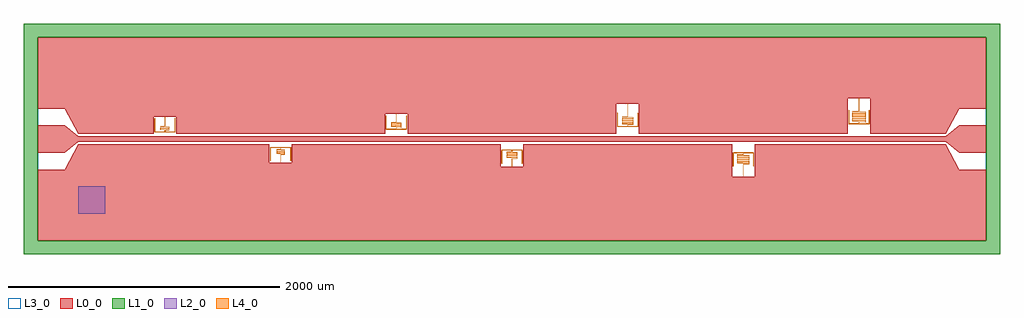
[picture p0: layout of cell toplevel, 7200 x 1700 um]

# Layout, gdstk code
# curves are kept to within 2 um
import gdstk
lib = gdstk.Library(unit=1e-6, precision=1e-09)
def R(c, l, rs):  # rectangles x0, y0, x1, y1
    for r in rs: c.add(gdstk.rectangle(r[:2], r[2:], *l))
def P(c, l, *ps):  # polygons
    for p in ps: c.add(gdstk.Polygon(p, *l))
L0_0 = (0, 0)
L1_0 = (1, 0)
L2_0 = (2, 0)
L3_0 = (3, 0)
L4_0 = (4, 0)

toplevel = lib.new_cell('toplevel')
P(toplevel, L0_0, [(-2477.5,164.5),(-2477.5,39.5),(-935.833,39.5),(-935.833,184.5),(-770.833,184.5),(-770.833,39.5),(770.833,39.5),(770.833,259.5),(935.833,259.5),(935.833,39.5),(2477.5,39.5),(2477.5,299.5),(2642.5,299.5),(2642.5,39.5),(3200,39.5),(3300,225),(3500,225),(3500,750),(-3500,750),(-3500,225),(-3300,225),(-3200,39.5),(-2642.5,39.5),(-2642.5,164.5)],
  [(3500,-750),(3500,-225),(3300,-225),(3200,-39.5),(1789.167,-39.5),(1789.167,-279.5),(1624.167,-279.5),(1624.167,-39.5),(82.5,-39.5),(82.5,-204.5),(-82.5,-204.5),(-82.5,-39.5),(-1624.167,-39.5),(-1624.167,-174.5),(-1789.167,-174.5),(-1789.167,-39.5),(-3200,-39.5),(-3300,-225),(-3500,-225),(-3500,-750)],
  [(-3200,19.5),(-3300,100),(-3500,100),(-3500,-100),(-3300,-100),(-3200,-19.5),(3200,-19.5),(3300,-100),(3500,-100),(3500,100),(3300,100),(3200,19.5)])
P(toplevel, L1_0, [(3600,850),(-3600,850),(-3600,-750),(-3500,-750),(-3500,750),(3500,750),(3500,-750),(-3500,-750),(-3600,-750),(-3600,-850),(3600,-850)])
R(toplevel, L2_0, [(-3200,-550,-3000,-350)])
R(toplevel, L3_0, [(-3500,-750,3500,750)])
P(toplevel, L4_0, [(-2559.691,63.68),(-2559.239,64.184),(-2527.447,64.274),(-2526.875,64.718),(-2526.7,65.558),(-2526.73,68.87),(-2527.427,69.719),(-2592,69.801),(-2592.568,69.966),(-2592.7,70.622),(-2592.682,73.751),(-2592.132,74.195),(-2528.008,74.2),(-2527.218,74.375),(-2526.785,74.914),(-2526.738,78.916),(-2527.088,79.534),(-2527.798,79.791),(-2591.95,79.8),(-2592.645,80.102),(-2592.687,83.714),(-2592.141,84.194),(-2528.008,84.2),(-2526.8,84.875),(-2526.737,88.909),(-2527.088,89.534),(-2527.798,89.791),(-2591.95,89.8),(-2592.637,90.082),(-2592.691,93.68),(-2592.239,94.184),(-2560.969,94.201),(-2559.819,94.828),(-2559.7,164.5),(-2560.3,164.5),(-2560.368,95.07),(-2561.025,94.8),(-2592.345,94.774),(-2593.271,93.864),(-2593.19,89.848),(-2591.986,89.2),(-2527.859,89.194),(-2527.313,88.71),(-2527.359,85.092),(-2528.05,84.8),(-2592.202,84.791),(-2592.912,84.534),(-2593.262,83.916),(-2593.208,79.894),(-2591.992,79.2),(-2527.859,79.194),(-2527.313,78.714),(-2527.352,75.112),(-2528.05,74.8),(-2592.177,74.793),(-2593.241,74),(-2593.241,70),(-2592.042,69.201),(-2527.618,69.151),(-2527.308,68.663),(-2527.302,65.433),(-2527.769,64.815),(-2559.527,64.734),(-2560.277,63.826),(-2560.3,59.5),(-2570,54.5),(-2630.62,54.5),(-2632.27,54.779),(-2632.502,149.609),(-2632.952,150.934),(-2634.043,151.81),(-2635.326,151.979),(-2636.607,151.415),(-2637.5,149.5),(-2637.475,55.454),(-2636.915,52.9),(-2635.563,51.007),(-2633.448,49.846),(-2630.644,49.5),(-2489.356,49.5),(-2486.888,49.753),(-2484.934,50.618),(-2483.1,52.865),(-2482.503,56.063),(-2482.5,149.5),(-2483.085,151.107),(-2484.353,151.915),(-2485.752,151.884),(-2486.983,151.022),(-2487.498,149.609),(-2487.5,56.38),(-2487.751,54.751),(-2550,54.5),(-2559.7,59.5)],
  [(-1707.098,-74.034),(-1736.252,-74.285),(-1736.78,-74.699),(-1736.965,-75.452),(-1736.946,-78.813),(-1736.377,-79.663),(-1677.521,-79.806),(-1676.974,-80.342),(-1676.97,-83.604),(-1677.165,-84.093),(-1677.742,-84.2),(-1735.893,-84.211),(-1736.626,-84.507),(-1736.948,-85.206),(-1736.957,-88.714),(-1736.579,-89.534),(-1735.62,-89.8),(-1677.517,-89.807),(-1676.975,-90.328),(-1676.969,-93.581),(-1677.131,-94.066),(-1677.737,-94.2),(-1735.726,-94.202),(-1736.285,-94.297),(-1736.91,-95.006),(-1736.91,-98.994),(-1736.549,-99.558),(-1735.856,-99.792),(-1677.716,-99.8),(-1677.024,-100.095),(-1676.979,-103.71),(-1677.513,-104.193),(-1735.658,-104.2),(-1736.862,-104.861),(-1736.931,-108.903),(-1736.585,-109.529),(-1735.887,-109.789),(-1677.716,-109.8),(-1677.033,-110.073),(-1676.976,-113.676),(-1677.415,-114.182),(-1705.703,-114.201),(-1706.839,-114.809),(-1706.967,-174.5),(-1706.367,-174.5),(-1706.295,-115.061),(-1705.647,-114.8),(-1677.296,-114.77),(-1676.394,-113.858),(-1676.482,-109.835),(-1677.675,-109.2),(-1735.821,-109.193),(-1736.355,-108.706),(-1736.305,-105.086),(-1735.617,-104.8),(-1677.453,-104.79),(-1676.748,-104.529),(-1676.404,-103.909),(-1676.464,-99.881),(-1676.897,-99.368),(-1677.669,-99.2),(-1735.807,-99.194),(-1736.348,-98.751),(-1736.238,-94.97),(-1677.714,-94.8),(-1676.736,-94.519),(-1676.376,-93.702),(-1676.386,-90.199),(-1676.713,-89.502),(-1677.44,-89.211),(-1735.596,-89.2),(-1736.198,-89.07),(-1736.364,-88.586),(-1736.358,-85.328),(-1735.812,-84.806),(-1677.724,-84.8),(-1676.527,-84.256),(-1676.381,-80.237),(-1676.702,-79.513),(-1677.44,-79.211),(-1736.123,-79.119),(-1736.363,-75.4),(-1735.91,-74.817),(-1707.107,-74.724),(-1706.388,-73.82),(-1706.367,-69.5),(-1696.667,-64.5),(-1636.047,-64.5),(-1634.398,-64.777),(-1634.164,-159.609),(-1633.715,-160.934),(-1632.623,-161.81),(-1631.233,-161.962),(-1629.978,-161.343),(-1629.167,-159.5),(-1629.19,-65.481),(-1629.737,-62.935),(-1631.104,-61.007),(-1633.219,-59.846),(-1636.023,-59.5),(-1777.311,-59.5),(-1779.779,-59.753),(-1781.732,-60.618),(-1783.551,-62.831),(-1784.164,-66.088),(-1784.167,-159.5),(-1783.51,-161.189),(-1782.208,-161.941),(-1780.812,-161.849),(-1779.683,-161.022),(-1779.169,-159.609),(-1779.167,-66.483),(-1778.919,-64.755),(-1777.287,-64.5),(-1716.667,-64.5),(-1706.967,-69.5)],
  [(-853.024,83.684),(-852.556,84.186),(-816.326,84.26),(-815.72,84.699),(-815.533,85.558),(-815.566,88.883),(-816.307,89.734),(-889.823,89.8),(-890.402,89.966),(-890.533,90.622),(-890.514,93.755),(-889.947,94.196),(-816.853,94.2),(-816.077,94.36),(-815.638,94.861),(-815.572,98.916),(-815.927,99.539),(-816.656,99.793),(-889.778,99.8),(-890.469,100.079),(-890.52,103.714),(-889.961,104.195),(-816.853,104.2),(-816.096,104.35),(-815.652,104.828),(-815.57,108.909),(-815.927,109.539),(-816.656,109.793),(-889.773,109.8),(-890.46,110.058),(-890.521,113.71),(-889.961,114.195),(-816.858,114.2),(-815.677,114.776),(-815.568,118.896),(-815.921,119.534),(-816.65,119.792),(-889.773,119.8),(-890.448,120.035),(-890.524,123.68),(-890.048,124.187),(-854.325,124.201),(-853.205,124.724),(-853.033,184.5),(-853.633,184.5),(-853.725,125.024),(-854.368,124.8),(-890.153,124.778),(-890.798,124.487),(-891.107,123.851),(-890.976,119.75),(-889.803,119.2),(-816.706,119.195),(-816.146,118.71),(-816.213,115.046),(-816.893,114.8),(-890.011,114.793),(-890.74,114.539),(-891.097,113.903),(-891.003,109.802),(-889.808,109.2),(-816.706,109.195),(-816.146,108.71),(-816.201,105.07),(-816.893,104.8),(-890.011,104.793),(-890.74,104.539),(-891.095,103.916),(-891.023,99.848),(-890.583,99.357),(-889.814,99.2),(-816.706,99.195),(-816.146,98.714),(-816.195,95.086),(-816.888,94.8),(-889.987,94.794),(-890.697,94.571),(-891.073,94.007),(-891.075,90),(-890.439,89.292),(-889.864,89.201),(-816.476,89.158),(-816.142,88.671),(-816.135,85.437),(-816.623,84.813),(-852.82,84.745),(-853.609,83.839),(-853.633,79.5),(-863.333,74.5),(-923.953,74.5),(-925.602,74.777),(-925.833,76.34),(-925.836,169.609),(-926.285,170.934),(-927.277,171.766),(-928.66,171.979),(-929.94,171.415),(-930.599,170.556),(-930.833,169.5),(-930.808,75.454),(-930.233,72.865),(-928.864,70.979),(-926.781,69.846),(-923.977,69.5),(-782.689,69.5),(-780.221,69.753),(-778.268,70.618),(-776.449,72.831),(-775.836,76.088),(-775.833,169.5),(-776.418,171.107),(-777.686,171.915),(-779.085,171.884),(-780.317,171.022),(-780.831,169.609),(-780.833,76.441),(-781.081,74.755),(-782.713,74.5),(-843.333,74.5),(-853.033,79.5)],
  [(-0.441,-94.044),(-37.007,-94.26),(-37.593,-94.667),(-37.799,-95.452),(-37.774,-98.845),(-37.132,-99.698),(36.618,-99.804),(37.048,-99.944),(37.194,-100.359),(37.194,-103.641),(36.927,-104.133),(-36.537,-104.201),(-37.106,-104.292),(-37.741,-105),(-37.74,-109.007),(-37.364,-109.571),(-36.654,-109.794),(36.445,-109.8),(37.142,-110.095),(37.187,-113.714),(36.627,-114.195),(-36.481,-114.2),(-37.256,-114.36),(-37.698,-114.868),(-37.761,-118.916),(-37.406,-119.539),(-36.678,-119.793),(36.445,-119.8),(37.136,-120.079),(37.187,-123.714),(36.627,-124.195),(-36.481,-124.2),(-37.237,-124.35),(-37.681,-124.828),(-37.763,-128.909),(-37.406,-129.539),(-36.678,-129.793),(36.44,-129.8),(37.126,-130.058),(37.187,-133.71),(36.627,-134.195),(-36.475,-134.2),(-37.211,-134.337),(-37.657,-134.776),(-37.765,-138.896),(-37.412,-139.534),(-36.684,-139.792),(36.44,-139.8),(37.115,-140.035),(37.191,-143.68),(36.714,-144.187),(0.991,-144.201),(-0.129,-144.724),(-0.3,-204.5),(0.3,-204.5),(0.391,-145.024),(1.035,-144.8),(36.82,-144.778),(37.465,-144.487),(37.773,-143.851),(37.643,-139.75),(37.198,-139.331),(36.47,-139.2),(-36.627,-139.195),(-37.187,-138.71),(-37.121,-135.046),(-36.44,-134.8),(36.678,-134.793),(37.406,-134.539),(37.764,-133.903),(37.669,-129.802),(37.224,-129.343),(36.475,-129.2),(-36.627,-129.195),(-37.187,-128.71),(-37.132,-125.07),(-36.44,-124.8),(36.678,-124.793),(37.406,-124.539),(37.761,-123.916),(37.69,-119.848),(37.25,-119.357),(36.481,-119.2),(-36.627,-119.195),(-37.187,-118.714),(-37.14,-115.089),(-36.445,-114.8),(36.678,-114.793),(37.4,-114.544),(37.76,-113.922),(37.703,-109.881),(37.263,-109.364),(36.481,-109.2),(-36.614,-109.196),(-37.181,-108.755),(-37.068,-104.966),(36.42,-104.8),(37.165,-104.684),(37.778,-103.82),(37.79,-100.286),(37.47,-99.518),(36.69,-99.208),(-36.918,-99.137),(-37.194,-98.645),(-37.197,-95.405),(-36.71,-94.813),(-0.513,-94.745),(0.019,-94.43),(0.275,-93.839),(0.3,-89.5),(10,-84.5),(70.62,-84.5),(72.243,-84.746),(72.5,-86.4),(72.502,-179.609),(72.952,-180.934),(74.043,-181.81),(75.434,-181.962),(76.689,-181.343),(77.31,-180.457),(77.5,-179.5),(77.475,-85.454),(76.9,-82.865),(75.563,-81.007),(73.448,-79.846),(70.644,-79.5),(-70.644,-79.5),(-73.112,-79.753),(-75.066,-80.618),(-76.131,-81.6),(-76.9,-82.865),(-77.496,-86.013),(-77.5,-179.5),(-76.843,-181.189),(-75.541,-181.941),(-74.145,-181.849),(-72.952,-180.934),(-72.502,-179.609),(-72.5,-86.4),(-72.254,-84.757),(-70.62,-84.5),(-10,-84.5),(-0.3,-89.5)],
  [(853.643,103.689),(854.128,104.188),(893.814,104.253),(894.426,104.667),(894.632,105.48),(894.604,108.864),(893.906,109.719),(813.243,109.803),(812.654,110.237),(812.761,114.03),(813.314,114.199),(893.319,114.2),(894.141,114.39),(894.571,114.987),(894.589,118.941),(894.228,119.548),(893.499,119.794),(813.388,119.8),(812.673,120.15),(812.804,124.072),(893.319,124.2),(894.135,124.387),(894.567,124.973),(894.591,128.935),(894.228,129.548),(893.499,129.794),(813.388,129.8),(812.677,130.136),(812.804,134.072),(893.314,134.2),(894.122,134.379),(894.559,134.947),(894.591,138.935),(894.228,139.548),(893.499,139.794),(813.388,139.8),(812.681,140.122),(812.804,144.072),(893.314,144.2),(894.115,144.375),(894.55,144.921),(894.592,148.928),(894.228,149.548),(893.499,149.794),(813.388,149.8),(812.686,150.108),(812.801,154.07),(893.314,154.2),(894.096,154.364),(894.539,154.888),(894.593,158.922),(894.234,159.544),(893.499,159.794),(813.393,159.8),(812.692,160.092),(812.644,163.693),(813.128,164.188),(852.353,164.201),(853.096,164.364),(853.526,164.855),(853.633,259.5),(853.033,259.5),(852.971,165.082),(852.304,164.8),(813.039,164.781),(812.386,164.503),(812.066,163.883),(812.133,159.875),(812.577,159.36),(813.358,159.2),(893.451,159.196),(893.865,159.07),(894.02,158.718),(893.977,155.098),(893.273,154.8),(813.168,154.794),(812.439,154.548),(812.074,153.928),(812.121,149.907),(812.558,149.371),(813.353,149.2),(893.451,149.196),(893.863,149.072),(894.019,148.723),(893.983,145.115),(893.278,144.8),(813.168,144.794),(812.439,144.548),(812.074,143.928),(812.112,139.934),(812.545,139.379),(813.353,139.2),(893.451,139.196),(893.863,139.072),(894.019,138.723),(893.987,135.129),(893.278,134.8),(813.168,134.794),(812.439,134.548),(812.076,133.935),(812.103,129.96),(812.532,129.387),(813.347,129.2),(893.451,129.196),(893.863,129.072),(894.019,128.727),(893.992,125.143),(893.278,124.8),(813.168,124.794),(812.439,124.548),(812.077,123.941),(812.096,119.987),(812.526,119.39),(813.347,119.2),(893.451,119.195),(893.863,119.072),(894.019,118.727),(893.994,115.15),(893.278,114.8),(813.291,114.799),(812.721,114.705),(812.092,114),(812.094,109.993),(812.476,109.424),(813.198,109.205),(893.715,109.151),(894.026,108.663),(893.905,104.97),(853.879,104.753),(853.325,104.442),(853.06,103.851),(853.033,99.5),(843.333,94.5),(782.713,94.5),(781.09,94.746),(780.833,96.441),(780.831,189.609),(780.599,190.556),(780.022,191.343),(779.188,191.849),(778.224,191.998),(777.277,191.766),(776.49,191.189),(775.984,190.355),(775.833,189.5),(775.833,96.426),(776.179,93.552),(777.369,91.405),(779.268,90.07),(782.006,89.514),(923.977,89.5),(926.346,89.729),(928.229,90.505),(929.326,91.437),(930.17,92.727),(930.634,94.118),(930.827,95.91),(930.833,189.5),(930.643,190.457),(930.022,191.343),(929.085,191.884),(928.115,191.99),(927.277,191.766),(926.49,191.189),(925.984,190.355),(925.833,189.5),(925.833,96.34),(925.589,94.759),(923.953,94.5),(863.333,94.5),(853.633,99.5)],
  [(1706.218,-114.052),(1662.219,-114.246),(1661.565,-114.68),(1661.367,-115.558),(1661.403,-118.903),(1661.669,-119.453),(1662.199,-119.75),(1750.647,-119.8),(1751.233,-119.964),(1751.367,-120.622),(1751.346,-123.763),(1751.181,-124.084),(1750.762,-124.197),(1662.686,-124.2),(1661.859,-124.39),(1661.429,-124.987),(1661.411,-128.941),(1661.778,-129.553),(1662.519,-129.795),(1750.612,-129.8),(1751.115,-129.876),(1751.326,-130.146),(1751.352,-133.727),(1751.194,-134.074),(1750.776,-134.196),(1662.686,-134.2),(1661.865,-134.387),(1661.435,-134.967),(1661.411,-138.941),(1661.778,-139.553),(1662.519,-139.795),(1750.607,-139.8),(1751.322,-140.132),(1751.352,-143.727),(1751.194,-144.074),(1750.776,-144.196),(1662.692,-144.2),(1661.878,-144.379),(1661.443,-144.94),(1661.409,-148.935),(1661.778,-149.553),(1662.519,-149.795),(1750.607,-149.8),(1751.317,-150.118),(1751.352,-153.723),(1751.194,-154.074),(1750.776,-154.196),(1662.692,-154.2),(1661.891,-154.371),(1661.452,-154.914),(1661.408,-158.928),(1661.772,-159.548),(1662.513,-159.794),(1750.607,-159.8),(1751.313,-160.105),(1751.352,-163.723),(1751.194,-164.074),(1750.776,-164.196),(1662.692,-164.2),(1661.904,-164.364),(1661.461,-164.888),(1661.408,-168.928),(1661.772,-169.548),(1662.513,-169.794),(1750.607,-169.8),(1751.308,-170.092),(1751.352,-173.723),(1751.194,-174.074),(1750.771,-174.196),(1662.697,-174.2),(1661.917,-174.357),(1661.474,-174.855),(1661.406,-178.922),(1661.772,-179.548),(1662.513,-179.794),(1750.602,-179.8),(1751.3,-180.073),(1751.356,-183.693),(1751.218,-184.052),(1750.86,-184.189),(1707.658,-184.201),(1706.923,-184.353),(1706.491,-184.815),(1706.367,-279.5),(1706.967,-279.5),(1707.036,-185.067),(1707.706,-184.8),(1750.942,-184.784),(1751.609,-184.508),(1751.934,-183.883),(1751.851,-179.835),(1751.404,-179.35),(1750.636,-179.2),(1662.562,-179.196),(1662.139,-179.074),(1661.98,-178.718),(1662.029,-175.082),(1662.732,-174.8),(1750.82,-174.794),(1751.561,-174.548),(1751.927,-173.922),(1751.864,-169.868),(1751.423,-169.36),(1750.642,-169.2),(1662.558,-169.196),(1662.139,-169.074),(1661.981,-168.723),(1662.023,-165.098),(1662.727,-164.8),(1750.82,-164.794),(1751.561,-164.548),(1751.925,-163.928),(1751.877,-159.901),(1751.436,-159.368),(1750.642,-159.2),(1662.558,-159.196),(1662.139,-159.074),(1661.981,-158.723),(1662.018,-155.112),(1662.727,-154.8),(1750.814,-154.795),(1751.555,-154.553),(1751.924,-153.935),(1751.886,-149.927),(1751.449,-149.375),(1750.642,-149.2),(1662.558,-149.196),(1662.139,-149.074),(1661.981,-148.727),(1662.014,-145.125),(1662.727,-144.8),(1750.814,-144.795),(1751.555,-144.553),(1751.923,-143.941),(1751.895,-139.954),(1751.461,-139.383),(1750.647,-139.2),(1662.558,-139.196),(1662.139,-139.074),(1661.981,-138.727),(1662.009,-135.139),(1662.722,-134.8),(1750.814,-134.795),(1751.555,-134.553),(1751.923,-133.941),(1751.901,-129.973),(1751.468,-129.387),(1750.647,-129.2),(1662.558,-129.196),(1662.139,-129.074),(1661.981,-128.727),(1662.006,-125.15),(1662.219,-124.876),(1662.722,-124.8),(1750.796,-124.796),(1751.518,-124.58),(1751.904,-124.013),(1751.908,-120),(1751.266,-119.29),(1750.686,-119.201),(1662.342,-119.167),(1661.976,-118.684),(1662.093,-114.972),(1662.482,-114.81),(1706.095,-114.759),(1706.665,-114.453),(1706.939,-113.858),(1706.967,-109.5),(1716.667,-104.5),(1777.287,-104.5),(1778.902,-104.74),(1779.167,-106.483),(1779.169,-199.609),(1779.401,-200.556),(1779.978,-201.343),(1780.812,-201.849),(1781.776,-201.998),(1782.723,-201.766),(1783.51,-201.189),(1784.016,-200.355),(1784.167,-199.5),(1784.167,-106.473),(1783.831,-103.586),(1782.659,-101.437),(1780.732,-100.07),(1777.994,-99.514),(1636.023,-99.5),(1633.654,-99.729),(1631.771,-100.505),(1630.674,-101.437),(1629.864,-102.657),(1629.373,-104.085),(1629.175,-105.832),(1629.167,-199.5),(1629.357,-200.457),(1629.978,-201.343),(1630.915,-201.884),(1631.885,-201.99),(1632.723,-201.766),(1633.51,-201.189),(1634.016,-200.355),(1634.167,-199.5),(1634.167,-106.32),(1634.415,-104.754),(1636.047,-104.5),(1696.667,-104.5),(1706.367,-109.5)],
  [(2560.311,123.697),(2560.452,124.055),(2560.82,124.191),(2609.416,124.238),(2610.071,124.636),(2610.299,125.463),(2610.269,128.877),(2610.019,129.43),(2609.527,129.734),(2510.909,129.803),(2510.456,129.941),(2510.305,130.368),(2510.308,133.663),(2510.625,134.153),(2609.014,134.201),(2609.599,134.29),(2610.241,135),(2610.238,139.013),(2609.852,139.58),(2609.118,139.796),(2511.06,139.8),(2510.558,139.874),(2510.344,140.136),(2510.315,143.731),(2510.477,144.077),(2608.975,144.2),(2609.795,144.383),(2610.228,144.954),(2610.256,148.941),(2609.882,149.558),(2609.136,149.795),(2511.06,149.8),(2510.564,149.871),(2510.347,150.125),(2510.315,153.731),(2510.477,154.077),(2608.97,154.2),(2609.782,154.375),(2610.219,154.927),(2610.256,158.941),(2609.882,159.558),(2609.136,159.795),(2511.065,159.8),(2510.57,159.868),(2510.35,160.115),(2510.315,163.727),(2510.475,164.075),(2608.97,164.2),(2609.769,164.368),(2610.213,164.907),(2610.257,168.935),(2609.882,169.558),(2609.136,169.795),(2511.065,169.8),(2510.355,170.102),(2510.315,173.727),(2510.475,174.075),(2608.97,174.2),(2609.756,174.36),(2610.2,174.875),(2610.259,178.928),(2609.888,179.553),(2609.136,179.795),(2511.065,179.8),(2510.361,180.086),(2510.314,183.723),(2510.475,184.075),(2608.964,184.2),(2609.743,184.353),(2610.19,184.848),(2610.259,188.928),(2609.888,189.553),(2609.136,189.795),(2511.065,189.8),(2510.367,190.073),(2510.314,193.723),(2510.475,194.075),(2608.964,194.2),(2609.724,194.343),(2610.175,194.815),(2610.299,195.463),(2610.26,198.922),(2609.888,199.553),(2609.136,199.795),(2511.07,199.8),(2510.375,200.055),(2510.311,203.693),(2510.452,204.055),(2510.824,204.191),(2558.997,204.2),(2559.717,204.34),(2560.157,204.776),(2560.3,205.579),(2560.3,299.5),(2559.7,299.5),(2559.621,205.046),(2558.955,204.8),(2510.749,204.787),(2510.064,204.514),(2509.732,203.883),(2509.834,199.796),(2510.283,199.34),(2511.036,199.2),(2609.095,199.197),(2609.528,199.074),(2609.686,198.718),(2609.629,195.064),(2608.935,194.8),(2510.864,194.795),(2510.112,194.553),(2509.74,193.922),(2509.819,189.828),(2510.27,189.347),(2511.036,189.2),(2609.095,189.197),(2609.525,189.075),(2609.686,188.723),(2609.636,185.079),(2608.935,184.8),(2510.864,184.795),(2510.112,184.553),(2509.741,183.928),(2509.805,179.861),(2510.25,179.357),(2511.03,179.2),(2609.095,179.197),(2609.525,179.075),(2609.685,178.727),(2609.642,175.095),(2608.935,174.8),(2510.864,174.795),(2510.118,174.558),(2509.743,173.935),(2509.792,169.894),(2510.237,169.364),(2511.03,169.2),(2609.095,169.197),(2609.525,169.075),(2609.685,168.727),(2609.647,165.108),(2608.935,164.8),(2510.864,164.795),(2510.118,164.558),(2509.743,163.935),(2509.785,159.914),(2510.224,159.371),(2511.03,159.2),(2609.095,159.197),(2609.525,159.075),(2609.685,158.727),(2609.651,155.118),(2609.433,154.869),(2608.94,154.8),(2510.864,154.795),(2510.118,154.558),(2509.744,153.941),(2509.776,149.94),(2510.218,149.375),(2511.03,149.2),(2609.095,149.197),(2609.523,149.077),(2609.685,148.731),(2609.655,145.132),(2609.439,144.872),(2608.94,144.8),(2510.864,144.795),(2510.118,144.558),(2509.744,143.941),(2509.77,139.96),(2510.205,139.383),(2511.025,139.2),(2609.086,139.197),(2609.512,139.086),(2609.68,138.763),(2609.565,134.962),(2608.975,134.8),(2510.44,134.724),(2509.966,134.412),(2509.728,133.858),(2509.708,130.31),(2510.035,129.513),(2510.852,129.205),(2609.368,129.155),(2609.692,128.667),(2609.566,124.964),(2609.171,124.808),(2560.597,124.764),(2560.013,124.465),(2559.729,123.864),(2559.7,119.5),(2550,114.5),(2489.38,114.5),(2487.763,114.741),(2487.5,116.38),(2487.498,209.609),(2487.266,210.556),(2486.689,211.343),(2485.855,211.849),(2484.891,211.998),(2483.943,211.766),(2483.232,211.268),(2482.69,210.457),(2482.502,209.609),(2482.5,116.356),(2482.846,113.552),(2483.341,112.38),(2484.036,111.405),(2485.969,110.056),(2488.673,109.514),(2630.644,109.5),(2633.013,109.729),(2634.895,110.505),(2635.964,111.405),(2636.82,112.692),(2637.321,114.215),(2637.493,115.885),(2637.5,209.5),(2637.31,210.457),(2636.689,211.343),(2635.752,211.884),(2634.782,211.99),(2633.943,211.766),(2633.232,211.268),(2632.69,210.457),(2632.502,209.609),(2632.5,116.4),(2632.259,114.763),(2630.62,114.5),(2570,114.5),(2560.3,119.5)])

lib.write_gds('toplevel.gds')
